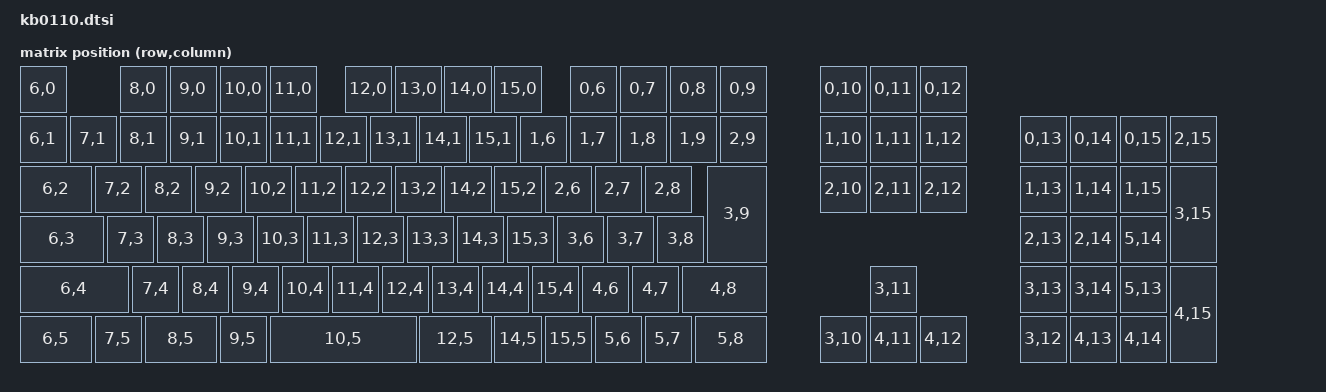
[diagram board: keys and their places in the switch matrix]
/*
 * KB0110 devicetree
 * 回路図: GL516_mod_xiao.kicad_sch  (Seeed XIAO nRF52840 Plus)
 * 一体型 / XIAO 1個 / 日本式デュープレックスマトリクス (charlieplex 走査)
 */

#include <dt-bindings/zmk/matrix_transform.h>
#include <dt-bindings/led/led.h>
#include <physical_layouts.dtsi>
#include <zephyr/dt-bindings/pinctrl/nrf-pinctrl.h>

/ {
    chosen {
        zmk,kscan = &kscan0;
        zmk,physical-layout = &default_layout;
        zmk,underglow = &led_strip;
    };

    /*
     * 日本式デュープレックスマトリクスを charlieplex として走査します。
     *   左ブロック (vial row 0-5) : スイッチ -> ダイオード(カソード=Row)  Col -> Row に電流
     *   右ブロック (vial row 6-11): ダイオード向きが逆                    Row -> Col に電流
     * 16本の GPIO を相互に「給電側/読取側」にするので、両方向の組み合わせを1つのドライバで扱えます。
     */
    kscan0: kscan {
        compatible = "zmk,kscan-gpio-charlieplex";
        wakeup-source;
        /* 割り込み用ピンが基板に無いためポーリング動作 (消費電流が増えるので周期は長めに) */
        poll-period-ms = <5>;

        gpios
            = <&gpio0 2 GPIO_ACTIVE_HIGH>   /*  0 Row0 D0  P0.02 */
            , <&gpio0 3 GPIO_ACTIVE_HIGH>   /*  1 Row1 D1  P0.03 */
            , <&gpio0 28 GPIO_ACTIVE_HIGH>  /*  2 Row2 D2  P0.28 */
            , <&gpio0 29 GPIO_ACTIVE_HIGH>  /*  3 Row3 D3  P0.29 */
            , <&gpio0 4 GPIO_ACTIVE_HIGH>   /*  4 Row4 D4  P0.04 */
            , <&gpio0 5 GPIO_ACTIVE_HIGH>   /*  5 Row5 D5  P0.05 */
            , <&gpio1 11 GPIO_ACTIVE_HIGH>  /*  6 Col0 D6  P1.11 */
            , <&gpio1 12 GPIO_ACTIVE_HIGH>  /*  7 Col1 D7  P1.12 */
            , <&gpio1 13 GPIO_ACTIVE_HIGH>  /*  8 Col2 D8  P1.13 */
            , <&gpio1 14 GPIO_ACTIVE_HIGH>  /*  9 Col3 D9  P1.14 */
            , <&gpio1 15 GPIO_ACTIVE_HIGH>  /* 10 Col4 D10 P1.15 */
            , <&gpio0 15 GPIO_ACTIVE_HIGH>  /* 11 Col5 D11 P0.15 (Plus) */
            , <&gpio0 19 GPIO_ACTIVE_HIGH>  /* 12 Col6 D12 P0.19 (Plus) */
            , <&gpio1 1 GPIO_ACTIVE_HIGH>   /* 13 Col7 D13 P1.01 (Plus) */
            , <&gpio0 9 GPIO_ACTIVE_HIGH>   /* 14 Col8 D14 P0.09 (Plus, NFC1) */
            , <&gpio0 10 GPIO_ACTIVE_HIGH>  /* 15 Col9 D15 P0.10 (Plus, NFC2) */
            ;
    };

    /* RC(給電ピン番号, 読取ピン番号): 16x16 の空間のうち使うのは110か所 */
    default_transform: keymap_transform_0 {
        compatible = "zmk,matrix-transform";
        columns = <16>;
        rows = <16>;
        map = <
            RC(6,0)   RC(8,0)   RC(9,0)   RC(10,0)  RC(11,0)  RC(12,0)  RC(13,0)  RC(14,0)  RC(15,0)  RC(0,6)   RC(0,7)   RC(0,8)   RC(0,9)   RC(0,10)  RC(0,11)  RC(0,12)
            RC(6,1)   RC(7,1)   RC(8,1)   RC(9,1)   RC(10,1)  RC(11,1)  RC(12,1)  RC(13,1)  RC(14,1)  RC(15,1)  RC(1,6)   RC(1,7)   RC(1,8)   RC(1,9)   RC(2,9)   RC(1,10)  RC(1,11)  RC(1,12)  RC(0,13)  RC(0,14)  RC(0,15)  RC(2,15)
            RC(6,2)   RC(7,2)   RC(8,2)   RC(9,2)   RC(10,2)  RC(11,2)  RC(12,2)  RC(13,2)  RC(14,2)  RC(15,2)  RC(2,6)   RC(2,7)   RC(2,8)   RC(3,9)   RC(2,10)  RC(2,11)  RC(2,12)  RC(1,13)  RC(1,14)  RC(1,15)  RC(3,15)
            RC(6,3)   RC(7,3)   RC(8,3)   RC(9,3)   RC(10,3)  RC(11,3)  RC(12,3)  RC(13,3)  RC(14,3)  RC(15,3)  RC(3,6)   RC(3,7)   RC(3,8)   RC(2,13)  RC(2,14)  RC(5,14)
            RC(6,4)   RC(7,4)   RC(8,4)   RC(9,4)   RC(10,4)  RC(11,4)  RC(12,4)  RC(13,4)  RC(14,4)  RC(15,4)  RC(4,6)   RC(4,7)   RC(4,8)   RC(3,11)  RC(3,13)  RC(3,14)  RC(5,13)  RC(4,15)
            RC(6,5)   RC(7,5)   RC(8,5)   RC(9,5)   RC(10,5)  RC(12,5)  RC(14,5)  RC(15,5)  RC(5,6)   RC(5,7)   RC(5,8)   RC(3,10)  RC(4,11)  RC(4,12)  RC(3,12)  RC(4,13)  RC(4,14)
        >;
    };

    default_layout: physical_layout_0 {
        compatible = "zmk,physical-layout";
        display-name = "KB0110 JIS";
        transform = <&default_transform>;
        kscan = <&kscan0>;
        keys  /*                     w   h    x    y rot rx ry */
        = <
            &key_physical_attrs 100 100 0 0 0 0 0
            &key_physical_attrs 100 100 200 0 0 0 0
            &key_physical_attrs 100 100 300 0 0 0 0
            &key_physical_attrs 100 100 400 0 0 0 0
            &key_physical_attrs 100 100 500 0 0 0 0
            &key_physical_attrs 100 100 650 0 0 0 0
            &key_physical_attrs 100 100 750 0 0 0 0
            &key_physical_attrs 100 100 850 0 0 0 0
            &key_physical_attrs 100 100 950 0 0 0 0
            &key_physical_attrs 100 100 1100 0 0 0 0
            &key_physical_attrs 100 100 1200 0 0 0 0
            &key_physical_attrs 100 100 1300 0 0 0 0
            &key_physical_attrs 100 100 1400 0 0 0 0
            &key_physical_attrs 100 100 1600 0 0 0 0
            &key_physical_attrs 100 100 1700 0 0 0 0
            &key_physical_attrs 100 100 1800 0 0 0 0
            &key_physical_attrs 100 100 0 100 0 0 0
            &key_physical_attrs 100 100 100 100 0 0 0
            &key_physical_attrs 100 100 200 100 0 0 0
            &key_physical_attrs 100 100 300 100 0 0 0
            &key_physical_attrs 100 100 400 100 0 0 0
            &key_physical_attrs 100 100 500 100 0 0 0
            &key_physical_attrs 100 100 600 100 0 0 0
            &key_physical_attrs 100 100 700 100 0 0 0
            &key_physical_attrs 100 100 800 100 0 0 0
            &key_physical_attrs 100 100 900 100 0 0 0
            &key_physical_attrs 100 100 1000 100 0 0 0
            &key_physical_attrs 100 100 1100 100 0 0 0
            &key_physical_attrs 100 100 1200 100 0 0 0
            &key_physical_attrs 100 100 1300 100 0 0 0
            &key_physical_attrs 100 100 1400 100 0 0 0
            &key_physical_attrs 100 100 1600 100 0 0 0
            &key_physical_attrs 100 100 1700 100 0 0 0
            &key_physical_attrs 100 100 1800 100 0 0 0
            &key_physical_attrs 100 100 2000 100 0 0 0
            &key_physical_attrs 100 100 2100 100 0 0 0
            &key_physical_attrs 100 100 2200 100 0 0 0
            &key_physical_attrs 100 100 2300 100 0 0 0
            &key_physical_attrs 150 100 0 200 0 0 0
            &key_physical_attrs 100 100 150 200 0 0 0
            &key_physical_attrs 100 100 250 200 0 0 0
            &key_physical_attrs 100 100 350 200 0 0 0
            &key_physical_attrs 100 100 450 200 0 0 0
            &key_physical_attrs 100 100 550 200 0 0 0
            &key_physical_attrs 100 100 650 200 0 0 0
            &key_physical_attrs 100 100 750 200 0 0 0
            &key_physical_attrs 100 100 850 200 0 0 0
            &key_physical_attrs 100 100 950 200 0 0 0
            &key_physical_attrs 100 100 1050 200 0 0 0
            &key_physical_attrs 100 100 1150 200 0 0 0
            &key_physical_attrs 100 100 1250 200 0 0 0
            &key_physical_attrs 125 200 1375 200 0 0 0
            &key_physical_attrs 100 100 1600 200 0 0 0
            &key_physical_attrs 100 100 1700 200 0 0 0
            &key_physical_attrs 100 100 1800 200 0 0 0
            &key_physical_attrs 100 100 2000 200 0 0 0
            &key_physical_attrs 100 100 2100 200 0 0 0
            &key_physical_attrs 100 100 2200 200 0 0 0
            &key_physical_attrs 100 200 2300 200 0 0 0
            &key_physical_attrs 175 100 0 300 0 0 0
            &key_physical_attrs 100 100 175 300 0 0 0
            &key_physical_attrs 100 100 275 300 0 0 0
            &key_physical_attrs 100 100 375 300 0 0 0
            &key_physical_attrs 100 100 475 300 0 0 0
            &key_physical_attrs 100 100 575 300 0 0 0
            &key_physical_attrs 100 100 675 300 0 0 0
            &key_physical_attrs 100 100 775 300 0 0 0
            &key_physical_attrs 100 100 875 300 0 0 0
            &key_physical_attrs 100 100 975 300 0 0 0
            &key_physical_attrs 100 100 1075 300 0 0 0
            &key_physical_attrs 100 100 1175 300 0 0 0
            &key_physical_attrs 100 100 1275 300 0 0 0
            &key_physical_attrs 100 100 2000 300 0 0 0
            &key_physical_attrs 100 100 2100 300 0 0 0
            &key_physical_attrs 100 100 2200 300 0 0 0
            &key_physical_attrs 225 100 0 400 0 0 0
            &key_physical_attrs 100 100 225 400 0 0 0
            &key_physical_attrs 100 100 325 400 0 0 0
            &key_physical_attrs 100 100 425 400 0 0 0
            &key_physical_attrs 100 100 525 400 0 0 0
            &key_physical_attrs 100 100 625 400 0 0 0
            &key_physical_attrs 100 100 725 400 0 0 0
            &key_physical_attrs 100 100 825 400 0 0 0
            &key_physical_attrs 100 100 925 400 0 0 0
            &key_physical_attrs 100 100 1025 400 0 0 0
            &key_physical_attrs 100 100 1125 400 0 0 0
            &key_physical_attrs 100 100 1225 400 0 0 0
            &key_physical_attrs 175 100 1325 400 0 0 0
            &key_physical_attrs 100 100 1700 400 0 0 0
            &key_physical_attrs 100 100 2000 400 0 0 0
            &key_physical_attrs 100 100 2100 400 0 0 0
            &key_physical_attrs 100 100 2200 400 0 0 0
            &key_physical_attrs 100 200 2300 400 0 0 0
            &key_physical_attrs 150 100 0 500 0 0 0
            &key_physical_attrs 100 100 150 500 0 0 0
            &key_physical_attrs 150 100 250 500 0 0 0
            &key_physical_attrs 100 100 400 500 0 0 0
            &key_physical_attrs 300 100 500 500 0 0 0
            &key_physical_attrs 150 100 800 500 0 0 0
            &key_physical_attrs 100 100 950 500 0 0 0
            &key_physical_attrs 100 100 1050 500 0 0 0
            &key_physical_attrs 100 100 1150 500 0 0 0
            &key_physical_attrs 100 100 1250 500 0 0 0
            &key_physical_attrs 150 100 1350 500 0 0 0
            &key_physical_attrs 100 100 1600 500 0 0 0
            &key_physical_attrs 100 100 1700 500 0 0 0
            &key_physical_attrs 100 100 1800 500 0 0 0
            &key_physical_attrs 100 100 2000 500 0 0 0
            &key_physical_attrs 100 100 2100 500 0 0 0
            &key_physical_attrs 100 100 2200 500 0 0 0
        >;
    };
};

/*
 * XIAO BLE ボード定義が標準で有効にしている UART/I2C/SPI は、
 * D4-D10 (Row4/Row5/Col0-Col4) と同じピンを使うため無効化します。
 */
&uart0 { status = "disabled"; };
&i2c0  { status = "disabled"; };
&spi2  { status = "disabled"; };
&pwm0  { status = "disabled"; };

/*
/* ---- SK6812MINI x3 (回路図 L1-L3, データ線 = XIAO D19 = P1.07) を SPI3 の MOSI で駆動 ---- */
&pinctrl {
    spi3_default: spi3_default {
        group1 {
            psels = <NRF_PSEL(SPIM_MOSI, 1, 7)>;
        };
    };

    spi3_sleep: spi3_sleep {
        group1 {
            psels = <NRF_PSEL(SPIM_MOSI, 1, 7)>;
            low-power-enable;
        };
    };
};

&spi3 {
    compatible = "nordic,nrf-spim";
    status = "okay";
    pinctrl-0 = <&spi3_default>;
    pinctrl-1 = <&spi3_sleep>;
    pinctrl-names = "default", "sleep";

    led_strip: ws2812@0 {
        compatible = "worldsemi,ws2812-spi";
        reg = <0>;
        spi-max-frequency = <4000000>;
        chain-length = <3>;
        spi-one-frame = <0x70>;
        spi-zero-frame = <0x40>;
        color-mapping = <LED_COLOR_ID_GREEN LED_COLOR_ID_RED LED_COLOR_ID_BLUE>;
    };
};
*/
